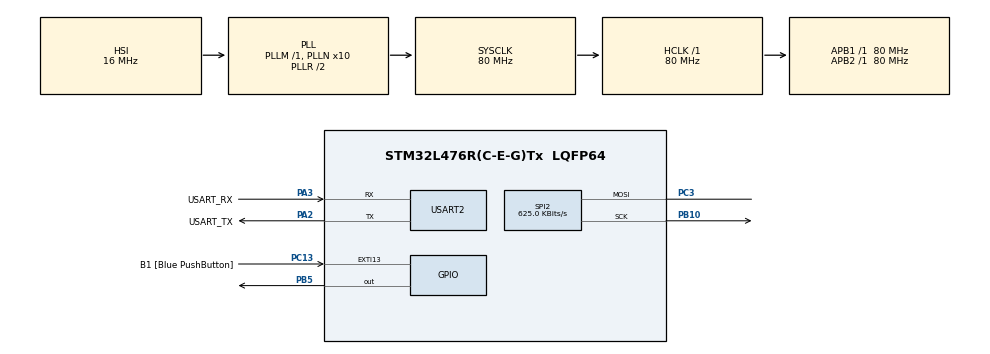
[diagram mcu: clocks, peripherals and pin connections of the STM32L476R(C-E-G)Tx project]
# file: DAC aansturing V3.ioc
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Mcu.Family=STM32L4
Mcu.Name=STM32L476R(C-E-G)Tx
Mcu.Package=LQFP64
NVIC.PriorityGroup=NVIC_PRIORITYGROUP_4
PA13\ (JTMS-SWDIO).GPIO_Label=TMS
PA13\ (JTMS-SWDIO).Mode=Serial_Wire
PA13\ (JTMS-SWDIO).Signal=SYS_JTMS-SWDIO
PA14\ (JTCK-SWCLK).GPIO_Label=TCK
PA14\ (JTCK-SWCLK).Mode=Serial_Wire
PA14\ (JTCK-SWCLK).Signal=SYS_JTCK-SWCLK
PA2.GPIO_Label=USART_TX
PA2.GPIO_Mode=GPIO_MODE_AF_PP
PA2.GPIO_PuPd=GPIO_NOPULL
PA2.GPIO_Speed=GPIO_SPEED_FREQ_VERY_HIGH
PA2.Mode=Asynchronous
PA2.Signal=USART2_TX
PA3.GPIO_Label=USART_RX
PA3.GPIO_Mode=GPIO_MODE_AF_PP
PA3.GPIO_PuPd=GPIO_NOPULL
PA3.GPIO_Speed=GPIO_SPEED_FREQ_VERY_HIGH
PA3.Mode=Asynchronous
PA3.Signal=USART2_RX
PB10.Mode=Simplex_Bidirectional_Master
PB10.Signal=SPI2_SCK
PB3\ (JTDO-TRACESWO).GPIO_Label=SWO
PB3\ (JTDO-TRACESWO).Signal=SYS_JTDO-SWO
PB5.PinState=GPIO_PIN_SET
PB5.Signal=GPIO_Output
PC13.GPIO_Label=B1 [Blue PushButton]
PC13.GPIO_ModeDefaultEXTI=GPIO_MODE_IT_FALLING
PC13.GPIO_PuPd=GPIO_NOPULL
PC13.Signal=GPXTI13
PC14-OSC32_IN\ (PC14).Mode=LSE-External-Oscillator
PC14-OSC32_IN\ (PC14).Signal=RCC_OSC32_IN
PC15-OSC32_OUT\ (PC15).Mode=LSE-External-Oscillator
PC15-OSC32_OUT\ (PC15).Signal=RCC_OSC32_OUT
PC3.Mode=Simplex_Bidirectional_Master
PC3.Signal=SPI2_MOSI
PH0-OSC_IN\ (PH0).Signal=RCC_OSC_IN
PH1-OSC_OUT\ (PH1).Signal=RCC_OSC_OUT
ProjectManager.HeapSize=0x200
ProjectManager.StackSize=0x400
ProjectManager.TargetToolchain=STM32CubeIDE
RCC.ADCFreq_Value=64000000
RCC.AHBFreq_Value=80000000
RCC.APB1Freq_Value=80000000
RCC.APB1TimFreq_Value=80000000
RCC.APB2Freq_Value=80000000
RCC.APB2TimFreq_Value=80000000
RCC.CortexFreq_Value=80000000
RCC.HCLKFreq_Value=80000000
RCC.HSE_VALUE=8000000
RCC.HSI_VALUE=16000000
RCC.MSI_VALUE=4000000
RCC.PLLN=10
RCC.PLLSourceVirtual=RCC_PLLSOURCE_HSI
RCC.PREFETCH_ENABLE=1
RCC.SYSCLKFreq_VALUE=80000000
RCC.SYSCLKSource=RCC_SYSCLKSOURCE_PLLCLK
RCC.USBFreq_Value=64000000
RCC.VCOOutputFreq_Value=160000000
SPI2.BaudRatePrescaler=SPI_BAUDRATEPRESCALER_128
SPI2.CLKPolarity=SPI_POLARITY_HIGH
SPI2.CalculateBaudRate=625.0 KBits/s
SPI2.DataSize=SPI_DATASIZE_8BIT
SPI2.Direction=SPI_DIRECTION_1LINE
SPI2.Mode=SPI_MODE_MASTER
SPI2.VirtualType=VM_MASTER
USART2.VirtualMode-Asynchronous=VM_ASYNC
board=NUCLEO-L476RG

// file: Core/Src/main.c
/* USER CODE BEGIN Header */
/**
  ******************************************************************************
  * @file           : main.c
  * @brief          : Main program body
  ******************************************************************************
  * @attention
  *
  * Copyright (c) 2024 STMicroelectronics.
  * All rights reserved.
  *
  * This software is licensed under terms that can be found in the LICENSE file
  * in the root directory of this software component.
  * If no LICENSE file comes with this software, it is provided AS-IS.
  *
  ******************************************************************************
  */
//Code werkt, SPI2 gebruikt, let op connecties
/* USER CODE END Header */
#include "main.h"

/* USER CODE BEGIN PD */
//SS pin van de DAC, verander zonodig
#define DAC_SS_Pin GPIO_PIN_5
#define DAC_SS_Port GPIOB
HAL_StatusTypeDef status;

//Registers adres definitie van de DAC80501
#define ADDR_NOOP_register 0x00 //No operation, Hex 0x00
#define ADDR_DEVID_register 0x01 //Device identification, Hex 0x01
#define ADDR_SYNC_register 0x02 //Synchronisation, Hex 0x02
#define ADDR_CONFIG_register 0x03 //Configuration, Hex 0x03
#define ADDR_GAIN_register 0x04 //Gain, Hex 0x04
#define ADDR_TRIGGER_register 0x05 //Trigger, Hex 0x05
#define ADDR_STATUS_register 0x07 //Status, Hex 0x07
#define ADDR_DAC_DATA_register 0x08 //Digital-to-analog converter, Hex 0x08

//Register Data van de DAC80501
#define DATA_NOOP 0x0000
	//#define DATA_DEVID_register 0b0000 0001 0001 0101, kan worden uitgelezen
#define DATA_SYNC_register 0x0000
//#define DATA_CONFIG_register 0x0101 //disabling internal reference & power-down mode
//#define DATA_GAIN_register 0x00 //referencespanning delen door 1 & gain op 1 zetten
#define DATA_TRIGGER_register 0x000A //dit reset de dac  & zet de dac in asynchronous mode(default)
	//#define DATA_STATUS_register 0x01 geeft aan of DAC wordt uitgeschakeld, 0x00 geeft aan dat dac is ingeschakeld
#define DAC80501_SPI_TIMEOUT 100

//#define DATA_CONFIG_register 0b0000000100000000 //disabling internal reference & power-down mode
//#define DATA_GAIN_register 0x00 //referencespanning delen door 1 & gain op 1 zetten
#define DATA_CONFIG_register 0x0000 //enabling internal reference & dis power-down mode
#define DATA_GAIN_register 0x0001 //referencespanning delen door 1 & gain op 2 zetten

/* USER CODE END PD */

/* USER CODE BEGIN PM */
HAL_StatusTypeDef check;
/* USER CODE END PM */

SPI_HandleTypeDef hspi2;

UART_HandleTypeDef huart2;

void SystemClock_Config(void);
static void MX_GPIO_Init(void);
static void MX_USART2_UART_Init(void);
static void MX_SPI2_Init(void);
/* USER CODE BEGIN PFP */
HAL_StatusTypeDef DAC80501DataVoltage5V(uint16_t voltage_mV)  //data(getal) moet in mV zijn van 0 tot 5000mV
{
	//Zorgen dat spanning tussen 0-5000mV zit
	if(voltage_mV > 5000){ //Houdt de spanning onder de 5000mV
		voltage_mV = 5000;
	}
	if(voltage_mV < 0){ //Houdt de spanning boven de 0mV. Werkt niet goed vanwerge unsigned naar signed conversion bij functie aanroep
		voltage_mV = 0;
	}

    HAL_StatusTypeDef status;
    uint16_t convertedDataVoltage = (uint16_t)(((uint32_t)voltage_mV * 65535) / 5000); // 0-5000mV omzetten naar 16 bits waarde die naar de dac gestuurd kan worden. gebruik gehele getallen
    uint8_t txData[3];

    // Stel het adres en de data in voor het trigger-register van de DAC80501
    txData[0] = ADDR_DAC_DATA_register;                     // Registeradres
    txData[1] = (convertedDataVoltage >> 8 ) & 0xFF;      // MSB van de 16-bits data
    txData[2] = (convertedDataVoltage & 0xFF);              // LSB van de 16-bits data

    // Zet de Chip Select (CS/SS) lijn laag om SPI-communicatie te starten
    HAL_GPIO_WritePin(DAC_SS_Port, DAC_SS_Pin, GPIO_PIN_RESET);

    // Verzend de 24-bits data via SPI
    status = HAL_SPI_Transmit(&hspi2, txData, 3, DAC80501_SPI_TIMEOUT);

    // Zet de Chip Select (CS/SS) lijn hoog om SPI-communicatie te beëindigen
    HAL_GPIO_WritePin(DAC_SS_Port, DAC_SS_Pin, GPIO_PIN_SET);

    // Retourneer de status van de SPI-communicatie (HAL_OK of foutcode)
    return status;
}

HAL_StatusTypeDef DAC80501DataVoltage60V(uint16_t voltage_mV)  //data(getal) moet in mV zijn van 0 tot 60000mV
{
	//Zorgen dat spanning tussen 0-5000mV zit
	if(voltage_mV > 60000){ //Houdt de spanning onder de 5000mV
		voltage_mV = 60000;
	}
	if(voltage_mV < 0){ //Houdt de spanning boven de 0mV. Werkt niet goed vanwerge unsigned naar signed conversion bij functie aanroep
		voltage_mV = 0;
	}

    HAL_StatusTypeDef status;
    uint16_t convertedDataVoltage = (uint16_t)(((uint32_t)voltage_mV * 65535) / (5000*12)); // 0-60000mV omzetten naar 16 bits waarde die naar de dac gestuurd kan worden. gebruik gehele getallen
    uint8_t txData[3];

    // Stel het adres en de data in voor het trigger-register van de DAC80501
    txData[0] = ADDR_DAC_DATA_register;                     // Registeradres
    txData[1] = (convertedDataVoltage >> 8 ) & 0xFF;      // MSB van de 16-bits data
    txData[2] = (convertedDataVoltage & 0xFF);              // LSB van de 16-bits data

    // Zet de Chip Select (CS/SS) lijn laag om SPI-communicatie te starten
    HAL_GPIO_WritePin(DAC_SS_Port, DAC_SS_Pin, GPIO_PIN_RESET);

    // Verzend de 24-bits data via SPI
    status = HAL_SPI_Transmit(&hspi2, txData, 3, DAC80501_SPI_TIMEOUT);

    // Zet de Chip Select (CS/SS) lijn hoog om SPI-communicatie te beëindigen
    HAL_GPIO_WritePin(DAC_SS_Port, DAC_SS_Pin, GPIO_PIN_SET);

    // Retourneer de status van de SPI-communicatie (HAL_OK of foutcode)
    return status;
}
/* USER CODE END PFP */

int main(void)
{

  /* MCU Configuration--------------------------------------------------------*/

  /* Reset of all peripherals, Initializes the Flash interface and the Systick. */
  HAL_Init();

  /* Configure the system clock */
  SystemClock_Config();

  /* Initialize all configured peripherals */
  MX_GPIO_Init();
  MX_USART2_UART_Init();
  MX_SPI2_Init();
  /* USER CODE BEGIN 2 */

//  uint8_t txData[3];
//  uint16_t data = 65535;
//  txData[0] = 0b00001000;                     // Registeradres
//  txData[1] = (data >> 8 ) & 0xFF;      // MSB van de 16-bits data
//  txData[2] = (data & 0xFF);              // LSB van de 16-bits data
//
//HAL_Delay(1);
//     HAL_GPIO_WritePin(DAC_SS_Port, DAC_SS_Pin, GPIO_PIN_RESET);
//      status = HAL_SPI_Transmit(&hspi2, txData, 3, 100);
//     HAL_GPIO_WritePin(DAC_SS_Port, DAC_SS_Pin, GPIO_PIN_SET);

  DAC80501DataVoltage60V(30010);
  /* USER CODE END 2 */

  /* Infinite loop */
  while (1)
  {

  }
}

void SystemClock_Config(void)
{
  RCC_OscInitTypeDef RCC_OscInitStruct = {0};
  RCC_ClkInitTypeDef RCC_ClkInitStruct = {0};

  /** Configure the main internal regulator output voltage
  */
  if (HAL_PWREx_ControlVoltageScaling(PWR_REGULATOR_VOLTAGE_SCALE1) != HAL_OK)
  {
    Error_Handler();
  }

  /** Initializes the RCC Oscillators according to the specified parameters
  * in the RCC_OscInitTypeDef structure.
  */
  RCC_OscInitStruct.OscillatorType = RCC_OSCILLATORTYPE_HSI;
  RCC_OscInitStruct.HSIState = RCC_HSI_ON;
  RCC_OscInitStruct.HSICalibrationValue = RCC_HSICALIBRATION_DEFAULT;
  RCC_OscInitStruct.PLL.PLLState = RCC_PLL_ON;
  RCC_OscInitStruct.PLL.PLLSource = RCC_PLLSOURCE_HSI;
  RCC_OscInitStruct.PLL.PLLM = 1;
  RCC_OscInitStruct.PLL.PLLN = 10;
  RCC_OscInitStruct.PLL.PLLP = RCC_PLLP_DIV7;
  RCC_OscInitStruct.PLL.PLLQ = RCC_PLLQ_DIV2;
  RCC_OscInitStruct.PLL.PLLR = RCC_PLLR_DIV2;
  if (HAL_RCC_OscConfig(&RCC_OscInitStruct) != HAL_OK)
  {
    Error_Handler();
  }

  /** Initializes the CPU, AHB and APB buses clocks
  */
  RCC_ClkInitStruct.ClockType = RCC_CLOCKTYPE_HCLK|RCC_CLOCKTYPE_SYSCLK
                              |RCC_CLOCKTYPE_PCLK1|RCC_CLOCKTYPE_PCLK2;
  RCC_ClkInitStruct.SYSCLKSource = RCC_SYSCLKSOURCE_PLLCLK;
  RCC_ClkInitStruct.AHBCLKDivider = RCC_SYSCLK_DIV1;
  RCC_ClkInitStruct.APB1CLKDivider = RCC_HCLK_DIV1;
  RCC_ClkInitStruct.APB2CLKDivider = RCC_HCLK_DIV1;

  if (HAL_RCC_ClockConfig(&RCC_ClkInitStruct, FLASH_LATENCY_4) != HAL_OK)
  {
    Error_Handler();
  }
}

static void MX_SPI2_Init(void)
{

  /* SPI2 parameter configuration*/
  hspi2.Instance = SPI2;
  hspi2.Init.Mode = SPI_MODE_MASTER;
  hspi2.Init.Direction = SPI_DIRECTION_1LINE;
  hspi2.Init.DataSize = SPI_DATASIZE_8BIT;
  hspi2.Init.CLKPolarity = SPI_POLARITY_HIGH;
  hspi2.Init.CLKPhase = SPI_PHASE_1EDGE;
  hspi2.Init.NSS = SPI_NSS_SOFT;
  hspi2.Init.BaudRatePrescaler = SPI_BAUDRATEPRESCALER_128;
  hspi2.Init.FirstBit = SPI_FIRSTBIT_MSB;
  hspi2.Init.TIMode = SPI_TIMODE_DISABLE;
  hspi2.Init.CRCCalculation = SPI_CRCCALCULATION_DISABLE;
  hspi2.Init.CRCPolynomial = 7;
  hspi2.Init.CRCLength = SPI_CRC_LENGTH_DATASIZE;
  hspi2.Init.NSSPMode = SPI_NSS_PULSE_ENABLE;
  if (HAL_SPI_Init(&hspi2) != HAL_OK)
  {
    Error_Handler();
  }
  /* USER CODE BEGIN SPI2_Init 2 */
  //Deze code wordt gebruikt om de CPOL initial value op 1 te zetten. verander alleen de GPIO_InitStruct.Pin pin & HAL_GPIO_Init(GPIOA, &GPIO_InitStruct); poort
  GPIO_InitTypeDef GPIO_InitStruct = {0};
       GPIO_InitStruct.Pin = GPIO_PIN_10; // GPIOD Pin 1 is the SPI2_CLK
       GPIO_InitStruct.Mode = GPIO_MODE_AF_PP;
       if (hspi2.Init.CLKPolarity==SPI_POLARITY_HIGH) {
         GPIO_InitStruct.Pull = GPIO_PULLUP;
       } else {
         GPIO_InitStruct.Pull = GPIO_PULLDOWN;
       }
       GPIO_InitStruct.Speed = GPIO_SPEED_FREQ_VERY_HIGH;
       GPIO_InitStruct.Alternate = GPIO_AF5_SPI1;
       HAL_GPIO_Init(GPIOB, &GPIO_InitStruct);
       HAL_Delay(1);
  /* USER CODE END SPI2_Init 2 */

}

static void MX_USART2_UART_Init(void)
{

  huart2.Instance = USART2;
  huart2.Init.BaudRate = 115200;
  huart2.Init.WordLength = UART_WORDLENGTH_8B;
  huart2.Init.StopBits = UART_STOPBITS_1;
  huart2.Init.Parity = UART_PARITY_NONE;
  huart2.Init.Mode = UART_MODE_TX_RX;
  huart2.Init.HwFlowCtl = UART_HWCONTROL_NONE;
  huart2.Init.OverSampling = UART_OVERSAMPLING_16;
  huart2.Init.OneBitSampling = UART_ONE_BIT_SAMPLE_DISABLE;
  huart2.AdvancedInit.AdvFeatureInit = UART_ADVFEATURE_NO_INIT;
  if (HAL_UART_Init(&huart2) != HAL_OK)
  {
    Error_Handler();
  }

}

static void MX_GPIO_Init(void)
{
  GPIO_InitTypeDef GPIO_InitStruct = {0};

  /* GPIO Ports Clock Enable */
  __HAL_RCC_GPIOC_CLK_ENABLE();
  __HAL_RCC_GPIOH_CLK_ENABLE();
  __HAL_RCC_GPIOA_CLK_ENABLE();
  __HAL_RCC_GPIOB_CLK_ENABLE();

  /*Configure GPIO pin Output Level */
  HAL_GPIO_WritePin(GPIOB, GPIO_PIN_5, GPIO_PIN_SET);

  /*Configure GPIO pin : B1_Pin */
  GPIO_InitStruct.Pin = B1_Pin;
  GPIO_InitStruct.Mode = GPIO_MODE_IT_FALLING;
  GPIO_InitStruct.Pull = GPIO_NOPULL;
  HAL_GPIO_Init(B1_GPIO_Port, &GPIO_InitStruct);

  /*Configure GPIO pin : PB5 */
  GPIO_InitStruct.Pin = GPIO_PIN_5;
  GPIO_InitStruct.Mode = GPIO_MODE_OUTPUT_PP;
  GPIO_InitStruct.Pull = GPIO_NOPULL;
  GPIO_InitStruct.Speed = GPIO_SPEED_FREQ_LOW;
  HAL_GPIO_Init(GPIOB, &GPIO_InitStruct);

}

void Error_Handler(void)
{
  __disable_irq();
  while (1)
  {
  }
}
